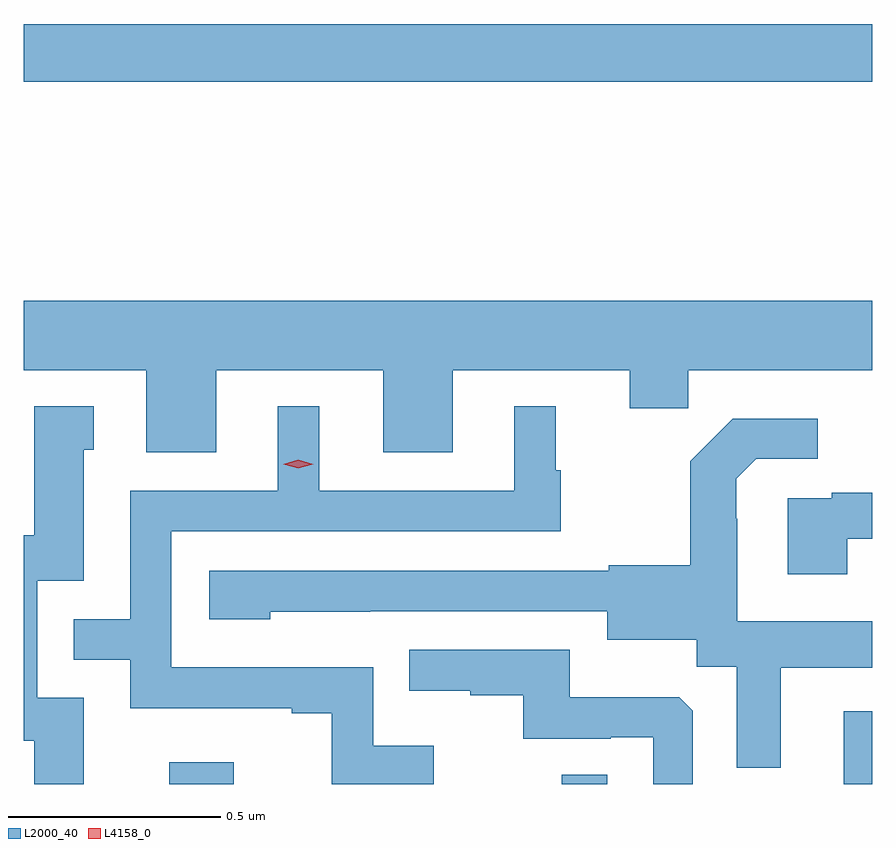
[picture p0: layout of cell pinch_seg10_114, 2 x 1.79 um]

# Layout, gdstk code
import gdstk
lib = gdstk.Library(unit=1e-6, precision=1e-09)
def R(c, l, rs):  # rectangles x0, y0, x1, y1
    for r in rs: c.add(gdstk.rectangle(r[:2], r[2:], *l))
def P(c, l, *ps):  # polygons
    for p in ps: c.add(gdstk.Polygon(p, *l))
L2000_40 = (2000, 40)
L4158_0 = (4158, 0)

pinch_seg10_114 = lib.new_cell('pinch_seg10_114')
R(pinch_seg10_114, L2000_40, [(666.689,1296.676,666.841,1296.727), (667.614,1296.676,667.722,1296.698), (668.279,1296.676,668.346,1296.847), (666.346,1298.332,668.346,1298.468)])
P(pinch_seg10_114, L2000_40, [(666.799,1297.652),(667.193,1297.652),(667.193,1297.458),(667.357,1297.458),(667.357,1297.652),(667.775,1297.652),(667.775,1297.562),(667.913,1297.562),(667.913,1297.652),(668.346,1297.652),(668.346,1297.816),(666.346,1297.816),(666.346,1297.652),(666.635,1297.652),(666.635,1297.458),(666.799,1297.458)],
  [(667.312,1296.766),(667.17,1296.766),(667.17,1296.951),(666.693,1296.951),(666.693,1297.272),(667.612,1297.272),(667.612,1297.416),(667.6,1297.416),(667.6,1297.567),(667.502,1297.567),(667.502,1297.368),(667.042,1297.368),(667.042,1297.567),(666.944,1297.567),(666.944,1297.368),(666.597,1297.368),(666.597,1297.065),(666.463,1297.065),(666.463,1296.969),(666.597,1296.969),(666.597,1296.855),(666.977,1296.855),(666.977,1296.843),(667.072,1296.843),(667.072,1296.676),(667.312,1296.676)],
  [(666.487,1296.879),(666.378,1296.879),(666.378,1297.155),(666.487,1297.155),(666.487,1297.464),(666.511,1297.464),(666.511,1297.567),(666.371,1297.567),(666.371,1297.263),(666.346,1297.263),(666.346,1296.778),(666.371,1296.778),(666.371,1296.676),(666.487,1296.676)],
  [(668.131,1296.95),(668.346,1296.95),(668.346,1297.06),(668.028,1297.06),(668.028,1297.301),(668.026,1297.301),(668.026,1297.396),(668.073,1297.443),(668.218,1297.443),(668.218,1297.537),(668.017,1297.537),(667.917,1297.437),(667.917,1297.192),(667.725,1297.192),(667.725,1297.179),(666.783,1297.179),(666.783,1297.064),(666.927,1297.064),(666.927,1297.082),(667.163,1297.082),(667.163,1297.083),(667.721,1297.083),(667.721,1297.016),(667.932,1297.016),(667.932,1296.952),(668.027,1296.952),(668.027,1296.714),(668.131,1296.714)],
  [(668.287,1297.254),(668.346,1297.254),(668.346,1297.363),(668.251,1297.363),(668.251,1297.35),(668.147,1297.35),(668.147,1297.17),(668.287,1297.17)],
  [(667.923,1296.849),(667.891,1296.881),(667.633,1296.881),(667.633,1296.993),(667.255,1296.993),(667.255,1296.896),(667.399,1296.896),(667.399,1296.885),(667.523,1296.885),(667.523,1296.783),(667.73,1296.783),(667.73,1296.786),(667.83,1296.786),(667.83,1296.676),(667.923,1296.676)])
P(pinch_seg10_114, L4158_0, [(666.993,1297.42),(666.958,1297.43),(666.957,1297.43),(666.958,1297.43),(666.993,1297.44),(667.028,1297.43),(667.028,1297.43),(667.028,1297.43)])

lib.write_gds('pinch_seg10_114.gds')
